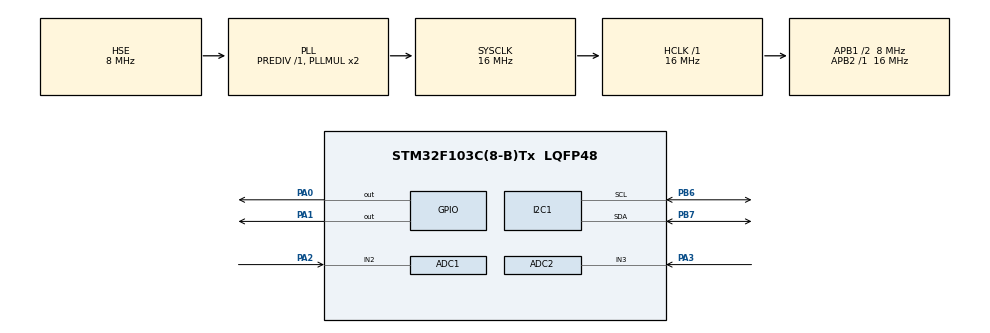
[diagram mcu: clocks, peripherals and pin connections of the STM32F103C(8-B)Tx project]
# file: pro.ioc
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ADC1.Channel-2\#ChannelRegularConversion=ADC_CHANNEL_2
ADC1.NbrOfConversionFlag=1
ADC1.Rank-2\#ChannelRegularConversion=1
ADC1.SamplingTime-2\#ChannelRegularConversion=ADC_SAMPLETIME_55CYCLES_5
ADC1.master=1
ADC2.Channel-0\#ChannelRegularConversion=ADC_CHANNEL_3
ADC2.NbrOfConversionFlag=1
ADC2.Rank-0\#ChannelRegularConversion=1
ADC2.SamplingTime-0\#ChannelRegularConversion=ADC_SAMPLETIME_55CYCLES_5
Mcu.Family=STM32F1
Mcu.Name=STM32F103C(8-B)Tx
Mcu.Package=LQFP48
NVIC.PriorityGroup=NVIC_PRIORITYGROUP_4
PA0-WKUP.Signal=GPIO_Output
PA1.Signal=GPIO_Output
PA13.Mode=Serial_Wire
PA13.Signal=SYS_JTMS-SWDIO
PA14.Mode=Serial_Wire
PA14.Signal=SYS_JTCK-SWCLK
PA2.Signal=ADCx_IN2
PA3.Signal=ADCx_IN3
PB6.Mode=I2C
PB6.Signal=I2C1_SCL
PB7.Mode=I2C
PB7.Signal=I2C1_SDA
PD0-OSC_IN.Mode=HSE-External-Oscillator
PD0-OSC_IN.Signal=RCC_OSC_IN
PD1-OSC_OUT.Mode=HSE-External-Oscillator
PD1-OSC_OUT.Signal=RCC_OSC_OUT
ProjectManager.HeapSize=0x200
ProjectManager.StackSize=0x400
ProjectManager.TargetToolchain=MDK-ARM V5
RCC.AHBFreq_Value=16000000
RCC.APB1CLKDivider=RCC_HCLK_DIV2
RCC.APB1Freq_Value=8000000
RCC.APB1TimFreq_Value=16000000
RCC.APB2Freq_Value=16000000
RCC.APB2TimFreq_Value=16000000
RCC.HCLKFreq_Value=16000000
RCC.PLLSourceVirtual=RCC_PLLSOURCE_HSE
RCC.SYSCLKFreq_VALUE=16000000
RCC.SYSCLKSource=RCC_SYSCLKSOURCE_PLLCLK
RCC.USBFreq_Value=16000000
SH.ADCx_IN2.0=ADC1_IN2,IN2
SH.ADCx_IN3.0=ADC2_IN3,IN3
VP_TIM4_VS_ClockSourceINT.Mode=Internal
board=custom

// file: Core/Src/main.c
/* USER CODE BEGIN Header */
/**
  ******************************************************************************
  * @file           : main.c
  * @brief          : Main program body
  ******************************************************************************
  * @attention
  *
  * Copyright (c) 2023 STMicroelectronics.
  * All rights reserved.
  *
  * This software is licensed under terms that can be found in the LICENSE file
  * in the root directory of this software component.
  * If no LICENSE file comes with this software, it is provided AS-IS.
  *
  ******************************************************************************
  */
/* USER CODE END Header */
#include "main.h"

/* USER CODE BEGIN Includes */
#include "i2c-lcd.h"

#include "stdio.h"
/* USER CODE END Includes */

ADC_HandleTypeDef hadc1;
ADC_HandleTypeDef hadc2;

I2C_HandleTypeDef hi2c1;

TIM_HandleTypeDef htim4;

void SystemClock_Config(void);
static void MX_GPIO_Init(void);
static void MX_I2C1_Init(void);
static void MX_TIM4_Init(void);
static void MX_ADC1_Init(void);
static void MX_ADC2_Init(void);
/* USER CODE BEGIN PFP */
uint32_t adc1_value = 0;
uint32_t adc2_value = 0;

void Display_Light(int Light)
	{

		char str[20] = {0};
		lcd_put_cur(0,0);
		sprintf(str, "L:%d",Light);
		lcd_send_string(str);
		lcd_send_string("Lux");
}
	////////
void Display_Lux(int Lux_value)
	{

		char str[20] = {0};
		lcd_put_cur(0,10);
		sprintf(str, "L:%d",Lux_value);
		lcd_send_string(str);
		lcd_send_string("Lux");
}

/*
void HAL_ADC_ConvCpltCallback(ADC_HandleTypeDef* hadc) {
    if (hadc == &hadc1) {

        adc1_value = HAL_ADC_GetValue(hadc);
        Display_Light(adc1_value);
    } else if (hadc == &hadc2) {

        adc2_value = HAL_ADC_GetValue(hadc);
        Display_Lux(adc2_value);
    }
}
*/
/* USER CODE END PFP */

int main(void)
{

  /* MCU Configuration--------------------------------------------------------*/

  /* Reset of all peripherals, Initializes the Flash interface and the Systick. */
  HAL_Init();

  /* Configure the system clock */
  SystemClock_Config();

  /* Initialize all configured peripherals */
  MX_GPIO_Init();
  MX_I2C1_Init();
  MX_TIM4_Init();
  MX_ADC1_Init();
  MX_ADC2_Init();
  /* USER CODE BEGIN 2 */
	HAL_TIM_Base_Start(&htim4);

	lcd_init();
	lcd_send_string("Waiting.."); //display string on lcd
	HAL_Delay(2000); //wait for 2 seconds
	lcd_clear();
  /* USER CODE END 2 */

  /* Infinite loop */
  while (1)
  {

    /* USER CODE BEGIN 3 */
		HAL_ADC_Start(&hadc1);
		HAL_ADC_PollForConversion(&hadc1, HAL_MAX_DELAY);
		uint32_t adc1_value = HAL_ADC_GetValue(&hadc1);
    Display_Light(adc1_value);
		HAL_Delay(300);
		HAL_ADC_Start(&hadc2);
		HAL_ADC_PollForConversion(&hadc2, HAL_MAX_DELAY);
		uint32_t adc2_value = HAL_ADC_GetValue(&hadc2);
    Display_Lux(adc2_value);
		HAL_Delay(300);
  }
  /* USER CODE END 3 */
}

void SystemClock_Config(void)
{
  RCC_OscInitTypeDef RCC_OscInitStruct = {0};
  RCC_ClkInitTypeDef RCC_ClkInitStruct = {0};
  RCC_PeriphCLKInitTypeDef PeriphClkInit = {0};

  /** Initializes the RCC Oscillators according to the specified parameters
  * in the RCC_OscInitTypeDef structure.
  */
  RCC_OscInitStruct.OscillatorType = RCC_OSCILLATORTYPE_HSE;
  RCC_OscInitStruct.HSEState = RCC_HSE_ON;
  RCC_OscInitStruct.HSEPredivValue = RCC_HSE_PREDIV_DIV1;
  RCC_OscInitStruct.HSIState = RCC_HSI_ON;
  RCC_OscInitStruct.PLL.PLLState = RCC_PLL_ON;
  RCC_OscInitStruct.PLL.PLLSource = RCC_PLLSOURCE_HSE;
  RCC_OscInitStruct.PLL.PLLMUL = RCC_PLL_MUL2;
  if (HAL_RCC_OscConfig(&RCC_OscInitStruct) != HAL_OK)
  {
    Error_Handler();
  }

  /** Initializes the CPU, AHB and APB buses clocks
  */
  RCC_ClkInitStruct.ClockType = RCC_CLOCKTYPE_HCLK|RCC_CLOCKTYPE_SYSCLK
                              |RCC_CLOCKTYPE_PCLK1|RCC_CLOCKTYPE_PCLK2;
  RCC_ClkInitStruct.SYSCLKSource = RCC_SYSCLKSOURCE_PLLCLK;
  RCC_ClkInitStruct.AHBCLKDivider = RCC_SYSCLK_DIV1;
  RCC_ClkInitStruct.APB1CLKDivider = RCC_HCLK_DIV2;
  RCC_ClkInitStruct.APB2CLKDivider = RCC_HCLK_DIV1;

  if (HAL_RCC_ClockConfig(&RCC_ClkInitStruct, FLASH_LATENCY_0) != HAL_OK)
  {
    Error_Handler();
  }
  PeriphClkInit.PeriphClockSelection = RCC_PERIPHCLK_ADC;
  PeriphClkInit.AdcClockSelection = RCC_ADCPCLK2_DIV2;
  if (HAL_RCCEx_PeriphCLKConfig(&PeriphClkInit) != HAL_OK)
  {
    Error_Handler();
  }
}

static void MX_ADC1_Init(void)
{

  ADC_ChannelConfTypeDef sConfig = {0};

  /* USER CODE BEGIN ADC1_Init 1 */
	 __HAL_RCC_ADC1_CLK_ENABLE();
  /* USER CODE END ADC1_Init 1 */

  /** Common config
  */
  hadc1.Instance = ADC1;
  hadc1.Init.ScanConvMode = ADC_SCAN_DISABLE;
  hadc1.Init.ContinuousConvMode = DISABLE;
  hadc1.Init.DiscontinuousConvMode = DISABLE;
  hadc1.Init.ExternalTrigConv = ADC_SOFTWARE_START;
  hadc1.Init.DataAlign = ADC_DATAALIGN_RIGHT;
  hadc1.Init.NbrOfConversion = 1;
  if (HAL_ADC_Init(&hadc1) != HAL_OK)
  {
    Error_Handler();
  }

  /** Configure Regular Channel
  */
  sConfig.Channel = ADC_CHANNEL_2;
  sConfig.Rank = ADC_REGULAR_RANK_1;
  sConfig.SamplingTime = ADC_SAMPLETIME_55CYCLES_5;
  if (HAL_ADC_ConfigChannel(&hadc1, &sConfig) != HAL_OK)
  {
    Error_Handler();
  }

}

static void MX_ADC2_Init(void)
{

  ADC_ChannelConfTypeDef sConfig = {0};

  /* USER CODE BEGIN ADC2_Init 1 */
	 __HAL_RCC_ADC2_CLK_ENABLE();
  /* USER CODE END ADC2_Init 1 */

  /** Common config
  */
  hadc2.Instance = ADC2;
  hadc2.Init.ScanConvMode = ADC_SCAN_DISABLE;
  hadc2.Init.ContinuousConvMode = DISABLE;
  hadc2.Init.DiscontinuousConvMode = DISABLE;
  hadc2.Init.ExternalTrigConv = ADC_SOFTWARE_START;
  hadc2.Init.DataAlign = ADC_DATAALIGN_RIGHT;
  hadc2.Init.NbrOfConversion = 1;
  if (HAL_ADC_Init(&hadc2) != HAL_OK)
  {
    Error_Handler();
  }

  /** Configure Regular Channel
  */
  sConfig.Channel = ADC_CHANNEL_3;
  sConfig.Rank = ADC_REGULAR_RANK_1;
  sConfig.SamplingTime = ADC_SAMPLETIME_55CYCLES_5;
  if (HAL_ADC_ConfigChannel(&hadc2, &sConfig) != HAL_OK)
  {
    Error_Handler();
  }

}

static void MX_I2C1_Init(void)
{

  hi2c1.Instance = I2C1;
  hi2c1.Init.ClockSpeed = 100000;
  hi2c1.Init.DutyCycle = I2C_DUTYCYCLE_2;
  hi2c1.Init.OwnAddress1 = 0;
  hi2c1.Init.AddressingMode = I2C_ADDRESSINGMODE_7BIT;
  hi2c1.Init.DualAddressMode = I2C_DUALADDRESS_DISABLE;
  hi2c1.Init.OwnAddress2 = 0;
  hi2c1.Init.GeneralCallMode = I2C_GENERALCALL_DISABLE;
  hi2c1.Init.NoStretchMode = I2C_NOSTRETCH_DISABLE;
  if (HAL_I2C_Init(&hi2c1) != HAL_OK)
  {
    Error_Handler();
  }

}

static void MX_TIM4_Init(void)
{

  TIM_ClockConfigTypeDef sClockSourceConfig = {0};
  TIM_MasterConfigTypeDef sMasterConfig = {0};

  htim4.Instance = TIM4;
  htim4.Init.Prescaler = 0;
  htim4.Init.CounterMode = TIM_COUNTERMODE_UP;
  htim4.Init.Period = 65535;
  htim4.Init.ClockDivision = TIM_CLOCKDIVISION_DIV1;
  htim4.Init.AutoReloadPreload = TIM_AUTORELOAD_PRELOAD_DISABLE;
  if (HAL_TIM_Base_Init(&htim4) != HAL_OK)
  {
    Error_Handler();
  }
  sClockSourceConfig.ClockSource = TIM_CLOCKSOURCE_INTERNAL;
  if (HAL_TIM_ConfigClockSource(&htim4, &sClockSourceConfig) != HAL_OK)
  {
    Error_Handler();
  }
  sMasterConfig.MasterOutputTrigger = TIM_TRGO_RESET;
  sMasterConfig.MasterSlaveMode = TIM_MASTERSLAVEMODE_DISABLE;
  if (HAL_TIMEx_MasterConfigSynchronization(&htim4, &sMasterConfig) != HAL_OK)
  {
    Error_Handler();
  }

}

static void MX_GPIO_Init(void)
{
  GPIO_InitTypeDef GPIO_InitStruct = {0};

  /* GPIO Ports Clock Enable */
  __HAL_RCC_GPIOD_CLK_ENABLE();
  __HAL_RCC_GPIOA_CLK_ENABLE();
  __HAL_RCC_GPIOB_CLK_ENABLE();

  /*Configure GPIO pin Output Level */
  HAL_GPIO_WritePin(GPIOA, GPIO_PIN_0|GPIO_PIN_1, GPIO_PIN_RESET);

  /*Configure GPIO pins : PA0 PA1 */
  GPIO_InitStruct.Pin = GPIO_PIN_0|GPIO_PIN_1;
  GPIO_InitStruct.Mode = GPIO_MODE_OUTPUT_PP;
  GPIO_InitStruct.Pull = GPIO_NOPULL;
  GPIO_InitStruct.Speed = GPIO_SPEED_FREQ_LOW;
  HAL_GPIO_Init(GPIOA, &GPIO_InitStruct);

}

void Error_Handler(void)
{
  __disable_irq();
  while (1)
  {
  }
}
